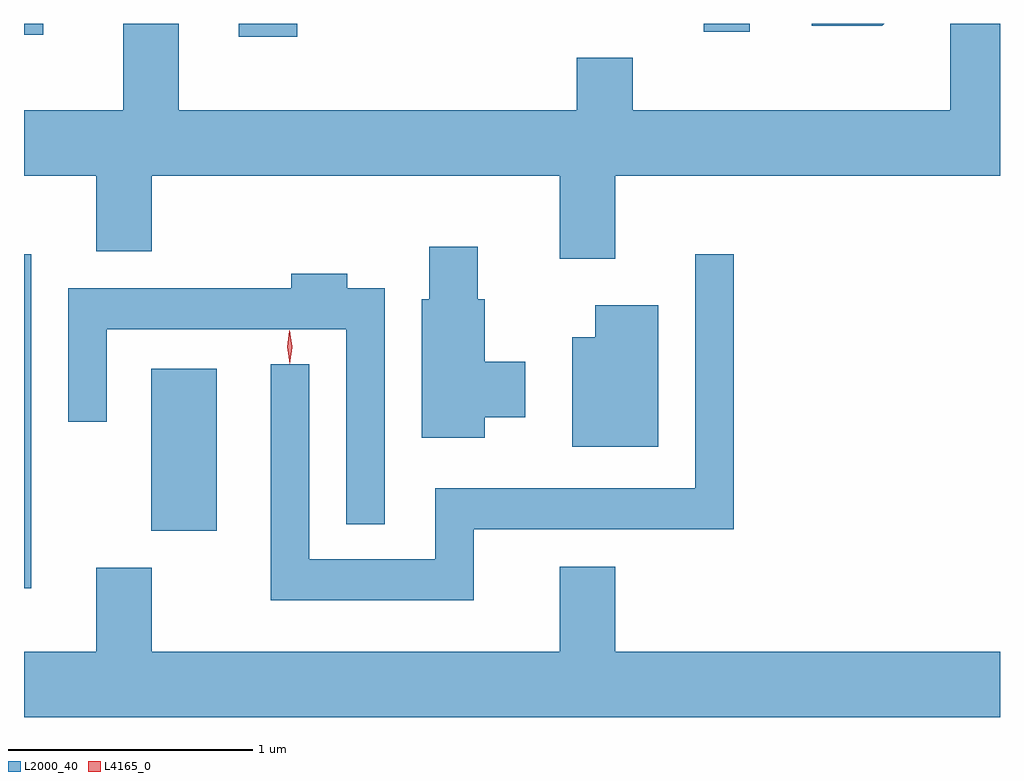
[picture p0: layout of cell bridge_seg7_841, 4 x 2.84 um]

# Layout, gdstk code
import gdstk
lib = gdstk.Library(unit=1e-6, precision=1e-09)
def R(c, l, rs):  # rectangles x0, y0, x1, y1
    for r in rs: c.add(gdstk.rectangle(r[:2], r[2:], *l))
def P(c, l, *ps):  # polygons
    for p in ps: c.add(gdstk.Polygon(p, *l))
L2000_40 = (2000, 40)
L4165_0 = (4165, 0)

bridge_seg7_841 = lib.new_cell('bridge_seg7_841')
R(bridge_seg7_841, L2000_40, [(319.085,1697.086,319.114,1698.453), (319.606,1697.321,319.874,1697.984), (319.966,1699.346,320.204,1699.399), (319.085,1699.353,319.164,1699.399), (321.871,1699.366,322.059,1699.399)])
P(bridge_seg7_841, L2000_40, [(321.509,1698.776),(323.085,1698.776),(323.085,1699.399),(322.881,1699.399),(322.881,1699.044),(321.579,1699.044),(321.579,1699.259),(321.351,1699.259),(321.351,1699.044),(319.719,1699.044),(319.719,1699.399),(319.491,1699.399),(319.491,1699.044),(319.085,1699.044),(319.085,1698.776),(319.381,1698.776),(319.381,1698.466),(319.609,1698.466),(319.609,1698.776),(321.281,1698.776),(321.281,1698.436),(321.509,1698.436)],
  [(322.61,1699.399),(322.313,1699.399),(322.313,1699.391),(322.602,1699.391)],
  [(320.974,1697.786),(321.139,1697.786),(321.139,1698.014),(320.974,1698.014),(320.974,1698.269),(320.944,1698.269),(320.944,1698.484),(320.746,1698.484),(320.746,1698.269),(320.716,1698.269),(320.716,1697.701),(320.974,1697.701)],
  [(320.929,1697.326),(321.994,1697.326),(321.994,1698.453),(321.836,1698.453),(321.836,1697.494),(320.771,1697.494),(320.771,1697.204),(320.254,1697.204),(320.254,1698.003),(320.096,1698.003),(320.096,1697.036),(320.929,1697.036)],
  [(320.564,1698.314),(320.409,1698.314),(320.409,1698.374),(320.181,1698.374),(320.181,1698.314),(319.266,1698.314),(319.266,1697.768),(319.424,1697.768),(319.424,1698.146),(320.406,1698.146),(320.406,1697.348),(320.564,1697.348)],
  [(321.684,1698.244),(321.426,1698.244),(321.426,1698.114),(321.331,1698.114),(321.331,1697.666),(321.684,1697.666)],
  [(323.085,1696.824),(321.509,1696.824),(321.509,1697.174),(321.281,1697.174),(321.281,1696.824),(319.609,1696.824),(319.609,1697.169),(319.381,1697.169),(319.381,1696.824),(319.085,1696.824),(319.085,1696.556),(323.085,1696.556)])
P(bridge_seg7_841, L4165_0, [(320.174,1698.004),(320.165,1698.073),(320.174,1698.142),(320.175,1698.143),(320.175,1698.142),(320.185,1698.073),(320.175,1698.004),(320.175,1698.004)],
  [(320.174,1698.007),(320.174,1698.007),(320.164,1698.074),(320.173,1698.14),(320.174,1698.14),(320.174,1698.14),(320.184,1698.074),(320.175,1698.007)])

lib.write_gds('bridge_seg7_841.gds')
